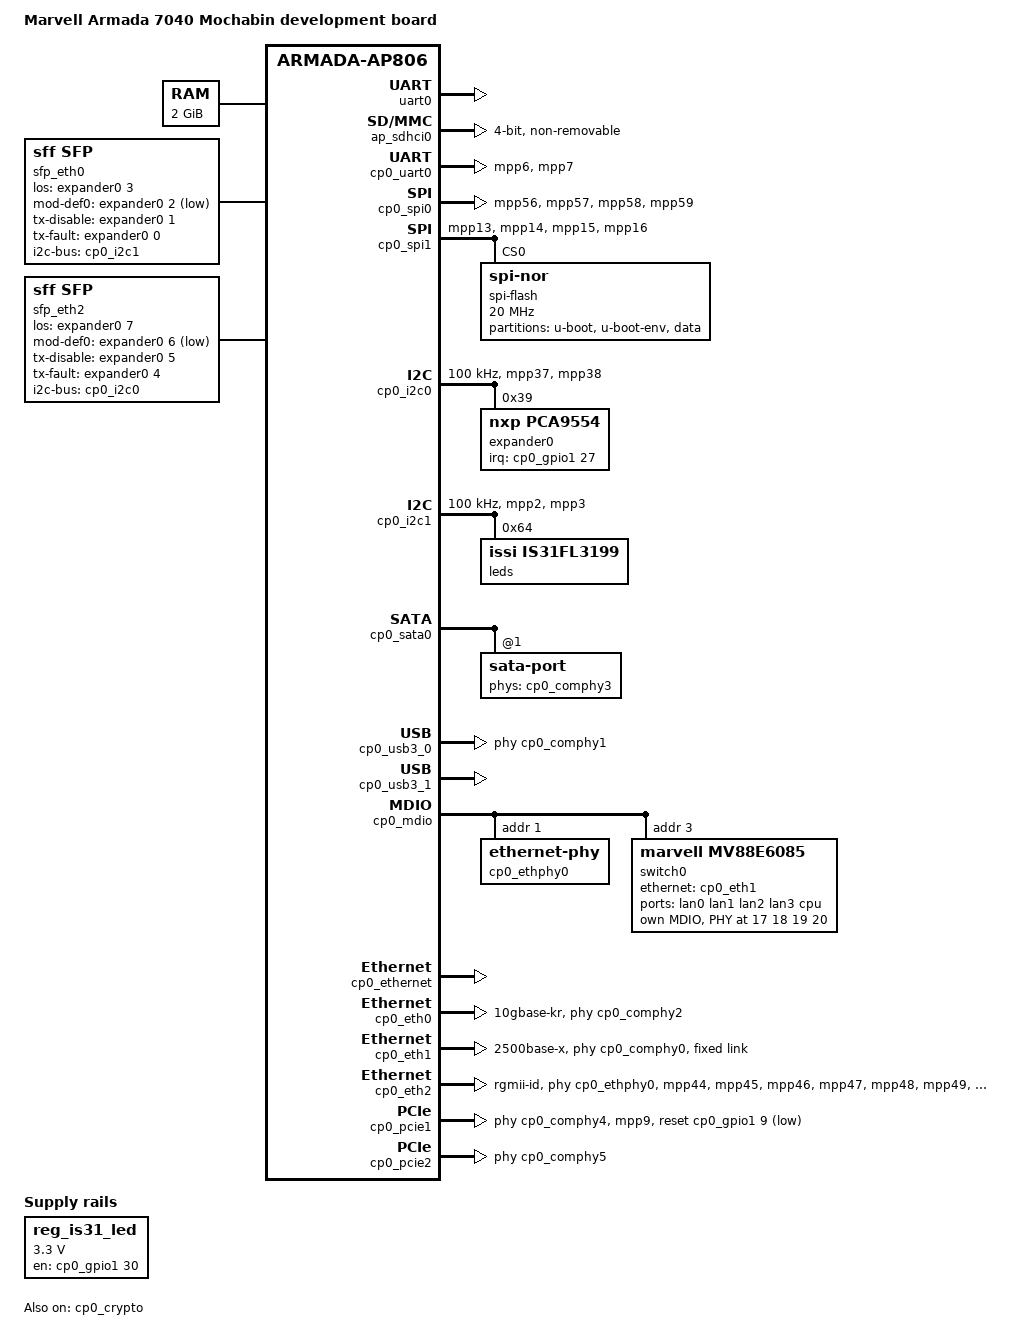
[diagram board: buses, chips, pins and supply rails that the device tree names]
/*
 * Copyright (C) 2016 Marvell Technology Group Ltd.
 *
 * This file is dual-licensed: you can use it either under the terms
 * of the GPLv2 or the X11 license, at your option. Note that this dual
 * licensing only applies to this file, and not this project as a
 * whole.
 *
 *  a) This library is free software; you can redistribute it and/or
 *     modify it under the terms of the GNU General Public License as
 *     published by the Free Software Foundation; either version 2 of the
 *     License, or (at your option) any later version.
 *
 *     This library is distributed in the hope that it will be useful,
 *     but WITHOUT ANY WARRANTY; without even the implied warranty of
 *     MERCHANTABILITY or FITNESS FOR A PARTICULAR PURPOSE.  See the
 *     GNU General Public License for more details.
 *
 * Or, alternatively,
 *
 *  b) Permission is hereby granted, free of charge, to any person
 *     obtaining a copy of this software and associated documentation
 *     files (the "Software"), to deal in the Software without
 *     restriction, including without limitation the rights to use,
 *     copy, modify, merge, publish, distribute, sublicense, and/or
 *     sell copies of the Software, and to permit persons to whom the
 *     Software is furnished to do so, subject to the following
 *     conditions:
 *
 *     The above copyright notice and this permission notice shall be
 *     included in all copies or substantial portions of the Software.
 *
 *     THE SOFTWARE IS PROVIDED "AS IS", WITHOUT WARRANTY OF ANY KIND,
 *     EXPRESS OR IMPLIED, INCLUDING BUT NOT LIMITED TO THE WARRANTIES
 *     OF MERCHANTABILITY, FITNESS FOR A PARTICULAR PURPOSE AND
 *     NONINFRINGEMENT. IN NO EVENT SHALL THE AUTHORS OR COPYRIGHT
 *     HOLDERS BE LIABLE FOR ANY CLAIM, DAMAGES OR OTHER LIABILITY,
 *     WHETHER IN AN ACTION OF CONTRACT, TORT OR OTHERWISE, ARISING
 *     FROM, OUT OF OR IN CONNECTION WITH THE SOFTWARE OR THE USE OR
 *     OTHER DEALINGS IN THE SOFTWARE.
 */

/*
 * Device Tree file for Marvell Armada 7040 mochabin developmant board
 */

#include <dt-bindings/gpio/gpio.h>
#include "armada-7040.dtsi"

/ {
	model = "Marvell Armada 7040 Mochabin development board";
	compatible = "marvell,armada7040-mochabin",  "marvell,armada7040",
				 "marvell,armada-ap806-quad", "marvell,armada-ap806";

	memory@0 {
		device_type = "memory";
		reg = <0x0 0x0 0x0 0x80000000>;
	};

	chosen {
		stdout-path = "serial0:115200n8";
	};

	aliases {
		ethernet0 = &cp0_eth0;
		ethernet1 = &cp0_eth1;
		ethernet2 = &cp0_eth2;
		/* for dsa slave device */
		ethernet3 = &switch0port1;
		ethernet4 = &switch0port2;
		ethernet5 = &switch0port3;
		ethernet6 = &switch0port4;
		gpio0 = &ap_gpio;
		gpio1 = &cp0_gpio1;
		gpio2 = &cp0_gpio2;
	};

	/* is31fl3199 led shutdown regulator */
	reg_is31_led: reg-is31-led {
		compatible = "regulator-fixed";
		pinctrl-names = "default";
		pinctrl-0 = <&is31_sdb_pins>;
		regulator-name = "is31-led";
		regulator-min-microvolt = <3300000>;
		regulator-max-microvolt = <3300000>;
		enable-active-high;
		regulator-always-on;
		gpio = <&cp0_gpio1 30 GPIO_ACTIVE_HIGH>;
		status = "okay";
	};

	/* SFP+ 10G */
	sfp_eth0: sfp-eth0 {
		compatible = "sff,sfp";
		i2c-bus = <&cp0_i2c1>;
		los-gpio = <&expander0 3 GPIO_ACTIVE_HIGH>;
		mod-def0-gpio = <&expander0 2 GPIO_ACTIVE_LOW>;
		tx-disable-gpio = <&expander0 1 GPIO_ACTIVE_HIGH>;
		tx-fault-gpio  = <&expander0 0 GPIO_ACTIVE_HIGH>;
		status = "okay";
	};

	/* SFP 1G */
	sfp_eth2: sfp-eth2 {
		compatible = "sff,sfp";
		i2c-bus = <&cp0_i2c0>;
		los-gpio = <&expander0 7 GPIO_ACTIVE_HIGH>;
		mod-def0-gpio = <&expander0 6 GPIO_ACTIVE_LOW>;
		tx-disable-gpio = <&expander0 5 GPIO_ACTIVE_HIGH>;
		tx-fault-gpio  = <&expander0 4 GPIO_ACTIVE_HIGH>;
		status = "okay";
	};
};

/* for uart debug console */
&uart0 {
	pinctrl-0 = <&uart0_pins>;
	pinctrl-names = "default";
	status = "okay";
};

/* eMMC */
&ap_sdhci0 {
	bus-width = <4>;
	no-1-8-v;
	non-removable;
	status = "okay";
};

&cp0_pinctrl {
	cp0_uart0_pins: cp0-uart0-pins {
		marvell,pins = "mpp6", "mpp7";
		marvell,function = "uart0";
	};
	cp0_spi0_pins: cp0-spi0-pins {
		marvell,pins = "mpp56", "mpp57", "mpp58", "mpp59";
		marvell,function = "spi0";
	};
	cp0_spi1_pins: cp0-spi1-pins {
		marvell,pins = "mpp13", "mpp14", "mpp15", "mpp16";
		marvell,function = "spi1";
	};
	cp0_i2c0_pins: cp0-i2c0-pins {
		marvell,pins = "mpp37", "mpp38";
		marvell,function = "i2c0";
	};
	cp0_i2c1_pins: cp0-i2c1-pins {
		marvell,pins = "mpp2", "mpp3";
		marvell,function = "i2c1";
	};
	cp0_rgmii1_pins: cp0-rgmii1-pins {
		marvell,pins = "mpp44", "mpp45", "mpp46", "mpp47", "mpp48", "mpp49",
					   "mpp50", "mpp51", "mpp52", "mpp53", "mpp54", "mpp55";
		marvell,function = "ge1";
	};
	cp0_pcie_reset_pins: cp0-pcie-reset-pins {
		marvell,pins = "mpp9";
		marvell,function = "gpio";
	};
	is31_sdb_pins: is31-sdb-pins {
		marvell,pins = "mpp30";
		marvell,function = "gpio";
	};
	pca9554_int_pins: pca9554-int-pins {
		marvell,pins = "mpp27";
		marvell,function = "gpio";
	};
};

/* for mikroBUS : uart */
&cp0_uart0 {
	pinctrl-names = "default";
	pinctrl-0 = <&cp0_uart0_pins>;
	status = "okay";
};

/* for mikroBUS : spi */
&cp0_spi0 {
	pinctrl-names = "default";
	pinctrl-0 = <&cp0_spi0_pins>;
	status = "okay";
};

/* for spi-flash */
&cp0_spi1{
	pinctrl-names = "default";
	pinctrl-0 = <&cp0_spi1_pins>;
	status = "okay";

	spi-flash@0 {
		#address-cells = <0x1>;
		#size-cells = <0x1>;
		compatible = "jedec,spi-nor";
		reg = <0x0>;
		spi-max-frequency = <20000000>;

		partitions {
			compatible = "fixed-partitions";
			#address-cells = <1>;
			#size-cells = <1>;

			partition@0 {
				label = "u-boot";
				reg = <0x0 0x3F0000>;
			};
			partition@3F0000 {
				label = "u-boot-env";
				reg = <0x3F0000 0x10000>;
			};
			partition@400000 {
				label = "data";
				reg = <0x400000 0xC00000>;
			};
		};
	};
};

/* for mikroBUS, SFP */
&cp0_i2c0 {
	pinctrl-names = "default";
	pinctrl-0 = <&cp0_i2c0_pins>;
	status = "okay";
	clock-frequency = <100000>;

	expander0: pca9554@39 {
		pinctrl-names = "default";
		pinctrl-0 = <&pca9554_int_pins>;
		compatible = "nxp,pca9554";
		reg = <0x39>;

		interrupt-parent = <&cp0_gpio1>;
		interrupts = <27 IRQ_TYPE_EDGE_FALLING>;
		interrupt-controller;
		#interrupt-cells = <2>;

		gpio-controller;
		#gpio-cells = <2>;

		/*
		 * IO0_0: SFP+_TX_FAULT
		 * IO0_1: SFP+_TX_DISABLE
		 * IO0_2: SFP+_PRSNT
		 * IO0_3: SFP+_LOSS
		 * IO0_4: SFP_TX_FAULT
		 * IO0_5: SFP_TX_DISABLE
		 * IO0_6: SFP_PRSNT
		 * IO0_7: SFP_LOSS
		 */
	};
};

/* for IS31FL3199, mini-PCIe, SFP+ */
&cp0_i2c1 {
	pinctrl-names = "default";
	pinctrl-0 = <&cp0_i2c1_pins>;
	status = "okay";
	clock-frequency = <100000>;

	leds: leds@64 {
		compatible = "issi,is31fl3199";
		#address-cells = <1>;
		#size-cells = <0>;
		reg = <0x64>;

		led1r: led@1 {
			label = "led1:red";
			reg = <1>;
			led-max-microamp = <20000>;
		};
		led1g: led@2 {
			label = "led1:green";
			reg = <2>;
		};
		led1b: led@3 {
			label = "led1:blue";
			reg = <3>;
		};
		led2r: led@4 {
			label = "led2:red";
			reg = <4>;
		};
		led2g: led@5 {
			label = "led2:green";
			reg = <5>;
		};
		led2b: led@6 {
			label = "led2:blue";
			reg = <6>;
		};
		led3r: led@7 {
			label = "led3:red";
			reg = <7>;
		};
		led3g: led@8 {
			label = "led3:green";
			reg = <8>;
		};
		led3b: led@9 {
			label = "led3:blue";
			reg = <9>;
		};
	};
};

&cp0_sata0 {
	status = "okay";
	sata-port@1 {
		phys = <&cp0_comphy3 1>;
		phy-names = "cp0-sata0-1-phy";
	};
};

/* for usb3 hub */
&cp0_usb3_0 {
	phys = <&cp0_comphy1 0>;
	phy-names = "cp0-usb3h0-comphy";
	status = "okay";
};

/* connect to mini-pcie#1 (J5) */
&cp0_usb3_1 {
	status = "okay";
};

&cp0_mdio {
	status = "okay";

	/* for 88e1512 phy */
	cp0_ethphy0: ethernet-phy@0 {
		reg = <1>;
		sfp = <&sfp_eth2>;
	};

	/* 88e6341 topaz switch */
	switch0: switch0@1 {
		compatible = "marvell,mv88e6085";
		#address-cells = <1>;
		#size-cells = <0>;
		reg = <3>;

		dsa,member = <0 0>;

		ports {
			#address-cells = <1>;
			#size-cells = <0>;

			switch0port1: port@1 {
				reg = <1>;
				label = "lan0";
				phy-handle = <&switch0phy1>;
			};

			switch0port2: port@2 {
				reg = <2>;
				label = "lan1";
				phy-handle = <&switch0phy2>;
			};

			switch0port3: port@3 {
				reg = <3>;
				label = "lan2";
				phy-handle = <&switch0phy3>;
			};

			switch0port4: port@4 {
				reg = <4>;
				label = "lan3";
				phy-handle = <&switch0phy4>;
			};

			switch0port5: port@5 {
				reg = <5>;
				label = "cpu";
				ethernet = <&cp0_eth1>;
				phy-mode = "2500base-x";
				managed = "in-band-status";
			};
		};

		mdio {
			#address-cells = <1>;
			#size-cells = <0>;

			switch0phy1: switch0phy1@11 {
				reg = <0x11>;
			};
			switch0phy2: switch0phy2@12 {
				reg = <0x12>;
			};
			switch0phy3: switch0phy3@13 {
				reg = <0x13>;
			};
			switch0phy4: switch0phy4@14 {
				reg = <0x14>;
			};
		};
	};
};

&cp0_ethernet {
	status = "okay";
};

&cp0_eth0 {
	status = "okay";
	phy-mode = "10gbase-kr";
	phys = <&cp0_comphy2 0>;
	managed = "in-band-status";
	sfp = <&sfp_eth0>;
};

&cp0_eth1 {
	status = "okay";
	phy-mode = "2500base-x";
	phys = <&cp0_comphy0 1>;
	fixed-link {
		speed = <2500>;
		full-duplex;
	};
};

&cp0_eth2 {
	status = "okay";
	pinctrl-names = "default";
	pinctrl-0 = <&cp0_rgmii1_pins>;
	phy = <&cp0_ethphy0>;
	phy-mode = "rgmii-id";
};

&cp0_pcie0 {
	status = "disabled";
};

&cp0_pcie1 {
	status = "okay";
	pinctrl-names = "default";
	pinctrl-0 = <&cp0_pcie_reset_pins>;
	phys = <&cp0_comphy4 1>;
	phy-names = "cp0-pcie1-x1-phy";
	reset-gpio = <&cp0_gpio1 9 GPIO_ACTIVE_LOW>;
};

&cp0_pcie2 {
	status = "okay";
	phys = <&cp0_comphy5 2>;
	phy-names = "cp0-pcie2-x1-phy";
};

&cp0_crypto {
	status = "okay";
};
